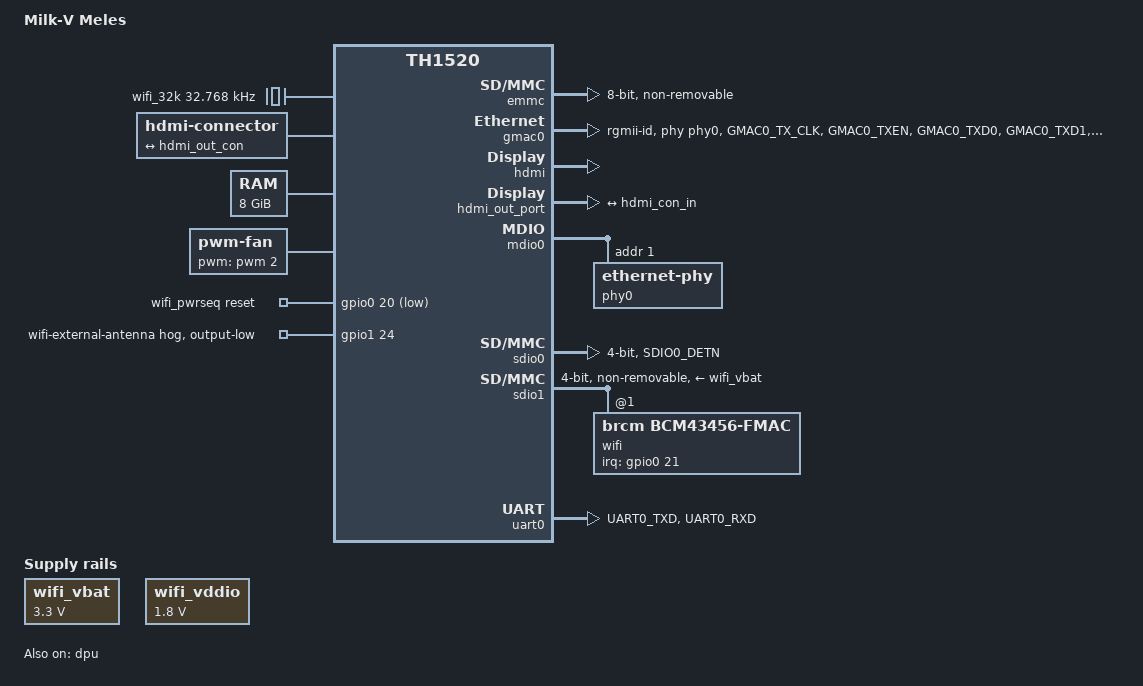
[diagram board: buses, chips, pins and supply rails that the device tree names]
// SPDX-License-Identifier: (GPL-2.0 OR MIT)
/*
 * Copyright (C) 2021-2022 Alibaba Group Holding Limited.
 * Copyright (C) 2026 Han Gao <gaohan@iscas.ac.cn>
 */

/dts-v1/;

#include "th1520.dtsi"
#include <dt-bindings/gpio/gpio.h>

/ {
	model = "Milk-V Meles";
	compatible = "milkv,meles", "thead,th1520";

	aliases {
		ethernet0 = &gmac0;
		gpio0 = &gpio0;
		gpio1 = &gpio1;
		gpio2 = &gpio2;
		gpio3 = &gpio3;
		gpio4 = &gpio4;
		gpio5 = &aogpio;
		mmc0 = &emmc;
		mmc1 = &sdio0;
		mmc2 = &sdio1;
		serial0 = &uart0;
	};

	chosen {
		stdout-path = "serial0:115200n8";
	};

	wifi_32k: clock-wifi-32k {
		compatible = "fixed-clock";
		#clock-cells = <0>;
		clock-frequency = <32768>;
		/* The module LPO input is supplied by PMIC_32K_OUT. */
	};

	hdmi-connector {
		compatible = "hdmi-connector";
		type = "a";

		port {
			hdmi_con_in: endpoint {
				remote-endpoint = <&hdmi_out_con>;
			};
		};
	};

	memory@0 {
		device_type = "memory";
		reg = <0x0 0x0 0x2 0x0>;
	};

	fan: pwm-fan {
		compatible = "pwm-fan";
		pinctrl-names = "default";
		pinctrl-0 = <&fan_pins>;
		pwms = <&pwm 2 10000000 0>;
		cooling-levels = <0 64 192 255>;
		#cooling-cells = <2>;
	};

	wifi_vbat: regulator-wifi-vbat {
		compatible = "regulator-fixed";
		regulator-name = "WIFI_3V3";
		regulator-min-microvolt = <3300000>;
		regulator-max-microvolt = <3300000>;
		regulator-always-on;
	};

	wifi_vddio: regulator-wifi-vddio {
		compatible = "regulator-fixed";
		regulator-name = "WIFI_VDDIO";
		regulator-min-microvolt = <1800000>;
		regulator-max-microvolt = <1800000>;
		regulator-always-on;
	};

	wifi_pwrseq: wifi-pwrseq {
		compatible = "mmc-pwrseq-simple";
		pinctrl-names = "default";
		pinctrl-0 = <&wifi_enable_pins>;
		reset-gpios = <&gpio0 20 GPIO_ACTIVE_LOW>;
		post-power-on-delay-ms = <50>;
	};
};

/* Names follow the 40-pin header signal labels. */
&aogpio {
	gpio-line-names = "", "", "", "", "", "", "", "AOGPIO_7",
			  "AOGPIO_8", "", "AOGPIO_10", "AOGPIO_11";
};

&dpu {
	status = "okay";
};

&emmc {
	bus-width = <8>;
	max-frequency = <52000000>;
	cap-mmc-highspeed;
	mmc-ddr-1_8v;
	non-removable;
	no-sdio;
	no-sd;

	status = "okay";
};

&gmac0 {
	pinctrl-names = "default";
	pinctrl-0 = <&gmac0_pins>, <&mdio0_pins>;
	phy-handle = <&phy0>;
	phy-mode = "rgmii-id";

	status = "okay";
};

&gpio0 {
	gpio-line-names = "", "", "", "", "", "", "", "", "GPIO0_8",
			  "GPIO0_9", "GPIO0_10", "GPIO0_11", "", "", "",
			  "", "GPIO0_16", "GPIO0_17";
};

&gpio1 {
	/* GPIO1_24 low selects the external antenna through U39. */
	wifi-antenna-select-hog {
		gpio-hog;
		gpios = <24 GPIO_ACTIVE_HIGH>;
		output-low;
		line-name = "wifi-external-antenna";
	};
};

&gpio2 {
	gpio-line-names = "GPIO2_0", "GPIO2_1", "", "", "", "", "", "",
			  "", "", "", "GPIO2_11", "GPIO2_12", "",
			  "GPIO2_14", "GPIO2_15", "GPIO2_16", "GPIO2_17",
			  "", "", "", "", "GPIO2_22", "GPIO2_23",
			  "GPIO2_24", "GPIO2_25", "", "", "", "", "",
			  "GPIO2_31";
};

&gpio3 {
	gpio-line-names = "GPIO3_0", "GPIO3_1", "GPIO3_2", "GPIO3_3";
};

&hdmi {
	status = "okay";
};

&hdmi_out_port {
	hdmi_out_con: endpoint {
		remote-endpoint = <&hdmi_con_in>;
	};
};

&mdio0 {
	phy0: ethernet-phy@1 {
		reg = <1>;
	};
};

&osc {
	clock-frequency = <24000000>;
};

&osc_32k {
	clock-frequency = <32768>;
};

&padctrl0_apsys {
	fan_pins: fan-0 {
		pwm2-pins {
			pins = "QSPI0_CSN1";
			function = "pwm";
			bias-disable;
			drive-strength = <25>;
			input-disable;
			input-schmitt-disable;
			slew-rate = <0>;
		};
	};

	gmac0_pins: gmac0-0 {
		tx-pins {
			pins = "GMAC0_TX_CLK",
			       "GMAC0_TXEN",
			       "GMAC0_TXD0",
			       "GMAC0_TXD1",
			       "GMAC0_TXD2",
			       "GMAC0_TXD3";
			function = "gmac0";
			bias-disable;
			drive-strength = <25>;
			input-disable;
			input-schmitt-disable;
			slew-rate = <0>;
		};

		rx-pins {
			pins = "GMAC0_RX_CLK",
			       "GMAC0_RXDV",
			       "GMAC0_RXD0",
			       "GMAC0_RXD1",
			       "GMAC0_RXD2",
			       "GMAC0_RXD3";
			function = "gmac0";
			bias-disable;
			drive-strength = <1>;
			input-enable;
			input-schmitt-disable;
			slew-rate = <0>;
		};
	};

	mdio0_pins: mdio0-0 {
		mdc-pins {
			pins = "GMAC0_MDC";
			function = "gmac0";
			bias-disable;
			drive-strength = <13>;
			input-disable;
			input-schmitt-disable;
			slew-rate = <0>;
		};

		mdio-pins {
			pins = "GMAC0_MDIO";
			function = "gmac0";
			bias-disable;
			drive-strength = <13>;
			input-enable;
			input-schmitt-enable;
			slew-rate = <0>;
		};
	};

	sdio0_pins: sdio0-0 {
		detn-pins {
			pins = "SDIO0_DETN";
			function = "sdio";
			bias-disable; /* external pull-up */
			drive-strength = <1>;
			input-enable;
			input-schmitt-enable;
			slew-rate = <0>;
		};
	};

	uart0_pins: uart0-0 {
		tx-pins {
			pins = "UART0_TXD";
			function = "uart";
			bias-disable;
			drive-strength = <3>;
			input-disable;
			input-schmitt-disable;
			slew-rate = <0>;
		};

		rx-pins {
			pins = "UART0_RXD";
			function = "uart";
			bias-disable;
			drive-strength = <1>;
			input-enable;
			input-schmitt-enable;
			slew-rate = <0>;
		};
	};
};

&padctrl1_apsys {
	wifi_enable_pins: wifi-enable-0 {
		gpio-pins {
			pins = "GPIO0_20";
			bias-disable;
			drive-strength = <7>;
			input-disable;
		};
	};

	wifi_host_wake_pins: wifi-host-wake-0 {
		gpio-pins {
			pins = "GPIO0_21";
			function = "gpio";
			bias-disable;
			input-enable;
			input-schmitt-enable;
		};
	};
};

&sdio0 {
	pinctrl-names = "default";
	pinctrl-0 = <&sdio0_pins>;
	bus-width = <4>;
	max-frequency = <50000000>;
	cap-sd-highspeed;
	no-1-8-v;
	disable-wp;
	no-sdio;

	status = "okay";
};

&sdio1 {
	bus-width = <4>;
	max-frequency = <198000000>;
	cap-sd-highspeed;
	cap-sdio-irq;
	non-removable;
	no-sd;
	no-mmc;
	keep-power-in-suspend;
	vmmc-supply = <&wifi_vbat>;
	vqmmc-supply = <&wifi_vddio>;
	mmc-pwrseq = <&wifi_pwrseq>;
	#address-cells = <1>;
	#size-cells = <0>;

	status = "okay";

	wifi@1 {
		compatible = "brcm,bcm43456-fmac", "brcm,bcm4329-fmac";
		reg = <1>;
		clocks = <&wifi_32k>;
		clock-names = "lpo";
		pinctrl-names = "default";
		pinctrl-0 = <&wifi_host_wake_pins>;
		interrupt-parent = <&gpio0>;
		interrupts = <21 IRQ_TYPE_LEVEL_HIGH>;
		interrupt-names = "host-wake";
	};
};

&uart0 {
	pinctrl-names = "default";
	pinctrl-0 = <&uart0_pins>;

	status = "okay";
};
